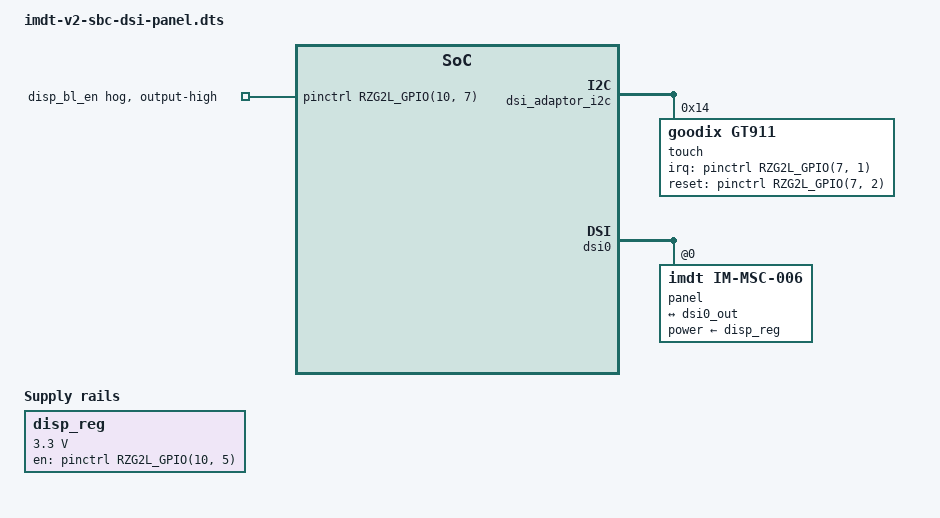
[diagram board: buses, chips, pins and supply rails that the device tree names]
/dts-v1/;
/plugin/;

#include <dt-bindings/interrupt-controller/arm-gic.h>
#include <dt-bindings/pinctrl/rzg2l-pinctrl.h>
#include <dt-bindings/gpio/gpio.h>

/ {
	disp_reg: dsi0_display_3v3 {
		compatible = "regulator-fixed";
		regulator-name = "dsi0 disp regulator";
		regulator-min-microvolt = <3300000>;  // Minimum voltage in microvolts
		regulator-max-microvolt = <3300000>;  // Maximum voltage in microvolts

		enable-active-high;                  // Optional, indicates the GPIO is active high
		gpio = <&pinctrl RZG2L_GPIO(10, 5) GPIO_ACTIVE_HIGH>;
	};
};

&pinctrl {
	disp_bl_en {
		gpio-hog;
		gpios = <RZG2L_GPIO(10, 7) GPIO_ACTIVE_HIGH>;
		output-high;
		line-name = "disp_bl_en";
	};
};

&dsi_adaptor_i2c {
	status = "okay";
	touch: gt911@14 {
		compatible = "goodix,gt911";
		reg = <0x14>;
		status = "okay";
		interrupt-parent = <&pinctrl>;
        interrupts = <RZG2L_GPIO(7, 1) IRQ_TYPE_LEVEL_LOW>;
		irq-gpios = <&pinctrl RZG2L_GPIO(7, 1) GPIO_ACTIVE_HIGH>;
		reset-gpios = <&pinctrl RZG2L_GPIO(7, 2) GPIO_ACTIVE_HIGH>; // signal is ACTIVE_LOW, but driver inverts it
	};
};

&dsi0 {
	panel@0 {
		compatible = "imdt,im-msc-006";
		power-supply = <&disp_reg>;
		reg = <0>;
		port {
			panel_in: endpoint {
			remote-endpoint = <&dsi0_out>;
			};
		};
	};
};

&dsi0_out {
	remote-endpoint = <&panel_in>;
	data-lanes = <1 2 3 4>;
};
